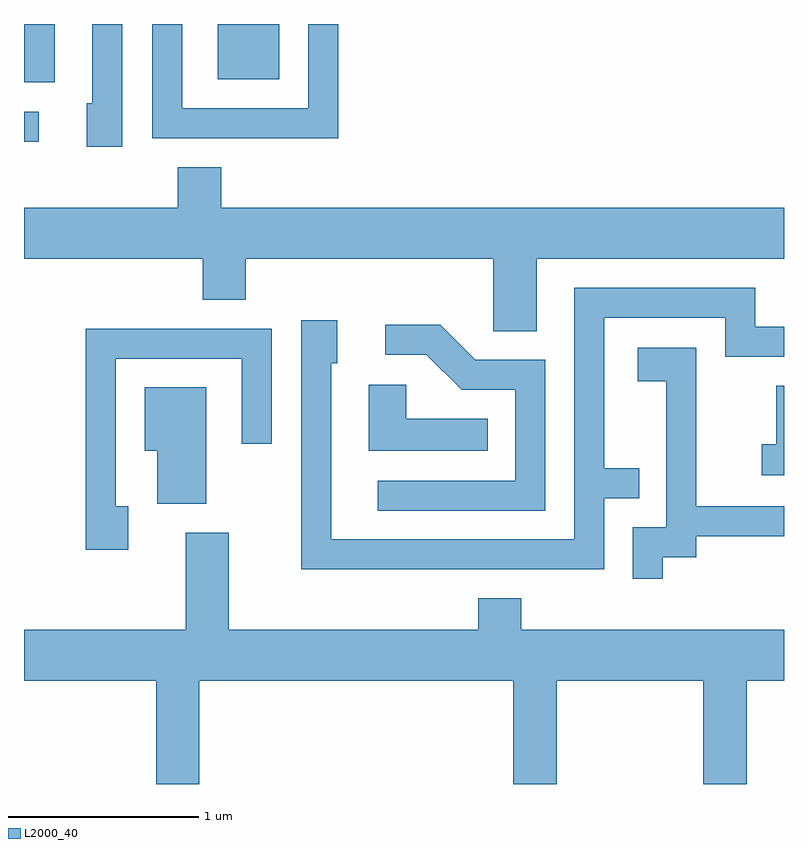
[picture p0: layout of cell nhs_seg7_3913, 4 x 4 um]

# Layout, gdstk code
import gdstk
lib = gdstk.Library(unit=1e-6, precision=1e-09)
def R(c, l, rs):  # rectangles x0, y0, x1, y1
    for r in rs: c.add(gdstk.rectangle(r[:2], r[2:], *l))
def P(c, l, *ps):  # polygons
    for p in ps: c.add(gdstk.Polygon(p, *l))
L2000_40 = (2000, 40)

nhs_seg7_3913 = lib.new_cell('nhs_seg7_3913')
R(nhs_seg7_3913, L2000_40, [(305.611,1681.631,305.688,1681.789), (305.611,1681.946,305.774,1682.252), (306.631,1681.961,306.954,1682.252)])
P(nhs_seg7_3913, L2000_40, [(307.264,1682.252),(307.106,1682.252),(307.106,1681.809),(306.444,1681.809),(306.444,1682.252),(306.286,1682.252),(306.286,1681.651),(307.264,1681.651)],
  [(306.129,1682.252),(305.971,1682.252),(305.971,1681.834),(305.941,1681.834),(305.941,1681.606),(306.129,1681.606)],
  [(308.309,1681.016),(309.611,1681.016),(309.611,1681.284),(306.649,1681.284),(306.649,1681.499),(306.421,1681.499),(306.421,1681.284),(305.611,1681.284),(305.611,1681.016),(306.551,1681.016),(306.551,1680.801),(306.779,1680.801),(306.779,1681.016),(308.081,1681.016),(308.081,1680.636),(308.309,1680.636)],
  [(308.664,1679.756),(308.848,1679.756),(308.848,1679.914),(308.664,1679.914),(308.664,1680.706),(309.301,1680.706),(309.301,1680.501),(309.611,1680.501),(309.611,1680.659),(309.459,1680.659),(309.459,1680.864),(308.506,1680.864),(308.506,1679.539),(307.229,1679.539),(307.229,1680.466),(307.259,1680.466),(307.259,1680.694),(307.071,1680.694),(307.071,1679.381),(308.664,1679.381)],
  [(308.354,1680.484),(307.987,1680.484),(307.802,1680.669),(307.513,1680.669),(307.513,1680.511),(307.729,1680.511),(307.914,1680.326),(308.196,1680.326),(308.196,1679.849),(307.473,1679.849),(307.473,1679.691),(308.354,1679.691)],
  [(306.159,1679.714),(306.094,1679.714),(306.094,1680.491),(306.756,1680.491),(306.756,1680.043),(306.914,1680.043),(306.914,1680.649),(305.936,1680.649),(305.936,1679.486),(306.159,1679.486)],
  [(308.974,1679.446),(309.149,1679.446),(309.149,1679.556),(309.611,1679.556),(309.611,1679.714),(309.149,1679.714),(309.149,1680.549),(308.841,1680.549),(308.841,1680.371),(308.991,1680.371),(308.991,1679.604),(308.816,1679.604),(308.816,1679.333),(308.974,1679.333)],
  [(308.053,1680.174),(307.624,1680.174),(307.624,1680.354),(307.426,1680.354),(307.426,1680.006),(308.053,1680.006)],
  [(309.611,1680.349),(309.571,1680.349),(309.571,1680.039),(309.493,1680.039),(309.493,1679.876),(309.611,1679.876)],
  [(306.569,1680.339),(306.246,1680.339),(306.246,1680.006),(306.311,1680.006),(306.311,1679.726),(306.569,1679.726)],
  [(306.534,1678.796),(308.186,1678.796),(308.186,1678.252),(308.414,1678.252),(308.414,1678.796),(309.186,1678.796),(309.186,1678.252),(309.414,1678.252),(309.414,1678.796),(309.611,1678.796),(309.611,1679.064),(308.229,1679.064),(308.229,1679.229),(308.001,1679.229),(308.001,1679.064),(306.689,1679.064),(306.689,1679.574),(306.461,1679.574),(306.461,1679.064),(305.611,1679.064),(305.611,1678.796),(306.306,1678.796),(306.306,1678.252),(306.534,1678.252)])

lib.write_gds('nhs_seg7_3913.gds')
